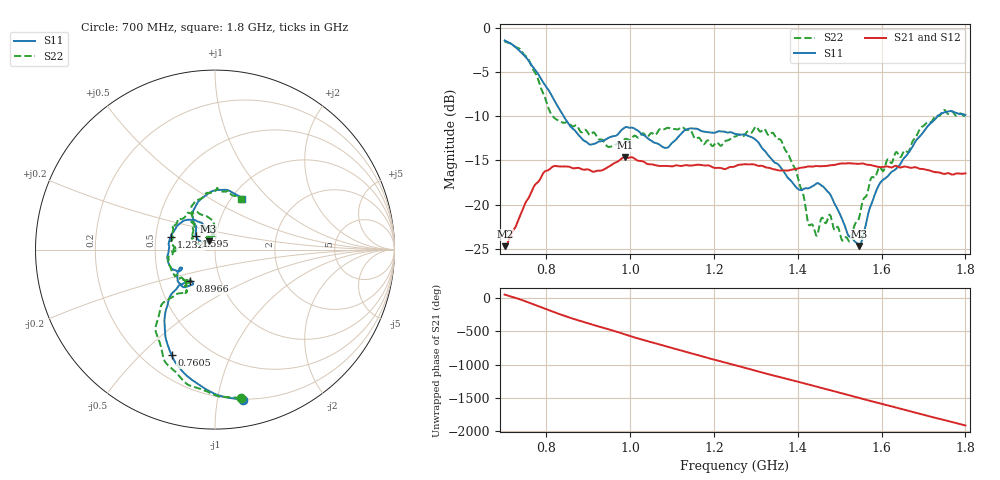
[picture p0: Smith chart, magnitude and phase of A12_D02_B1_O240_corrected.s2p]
! Created with skrf 1.9.0 (http://scikit-rf.org).
# Hz S RI R 50.0
!freq ReS11 ImS11 ReS21 ImS21 ReS12 ImS12 ReS22 ImS22
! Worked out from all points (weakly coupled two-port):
!   1601 points, 700 MHz to 1.8 GHz, reference 50 ohm
!   highest |S21| = -14.62 dB at 986.7 MHz (marker M1); lowest = -24.7 dB at 700.7 MHz (marker M2)
!   lowest |S11| = -24.7 dB at 1.547 GHz (marker M3), VSWR 1.12, Z = 46.3 + j4.29 ohm
!   |S11| at or under -10 dB: 841.1 MHz to 1.734 GHz (892.5 MHz wide, 69.3 % of centre)
!   |S22| runs from -24.2 to -1.5 dB; largest |S21 - S12| = 0.0034
!   S11 on the Smith chart (normalised r, x): 700 MHz: 0.20, -1.19; 760.5 MHz: 0.32, -0.62; 896.6 MHz: 0.71, -0.26; 1.232 GHz: 0.60, +0.09; 1.595 GHz: 0.80, +0.12; 1.8 GHz: 1.13, +0.71
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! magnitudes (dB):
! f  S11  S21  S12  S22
! 700 MHz  -1.4  -24.7  -24.5  -1.5
! 700.7 MHz  -1.4  -24.7  -24.4  -1.5
! 760.5 MHz  -3.9  -18.9  -18.8  -3.9
! 814.1 MHz  -7.8  -15.7  -15.8  -9.9
! 883.6 MHz  -12.5  -16.0  -15.9  -11.8
! 896.6 MHz  -12.9  -16.0  -16.1  -11.7
! 948.9 MHz  -12.4  -15.7  -15.7  -13.5
! 986.7 MHz  -11.3  -14.6  -14.7  -12.6
! 1.067 GHz  -13.1  -15.6  -15.5  -11.6
! 1.232 GHz  -11.8  -15.9  -15.8  -12.7
! 1.25 GHz  -12.0  -15.7  -15.6  -12.3
! 1.3 GHz  -12.7  -15.5  -15.5  -11.2
! 1.359 GHz  -15.8  -16.1  -16.1  -12.6
! 1.401 GHz  -18.3  -15.9  -15.9  -17.2
! 1.434 GHz  -17.9  -15.7  -15.7  -22.2
! 1.474 GHz  -18.7  -15.6  -15.6  -21.2
! 1.523 GHz  -23.6  -15.3  -15.3  -24.2
! 1.547 GHz  -24.7  -15.4  -15.3  -21.4
! 1.595 GHz  -17.6  -15.7  -15.7  -15.8
! 1.617 GHz  -16.6  -15.7  -15.7  -14.9
! 1.738 GHz  -9.8  -16.4  -16.4  -10.0
! 1.8 GHz  -9.9  -16.5  -16.5  -10.0
